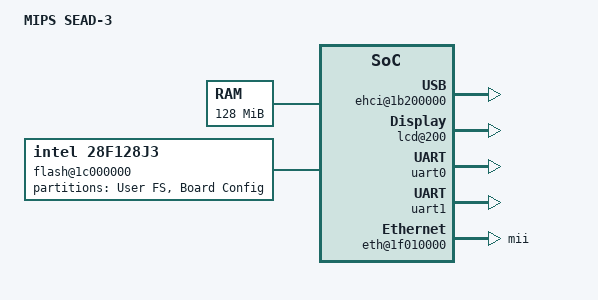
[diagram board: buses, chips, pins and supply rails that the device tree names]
// SPDX-License-Identifier: GPL-2.0
/dts-v1/;

/memreserve/ 0x00000000 0x00001000;	// reserved
/memreserve/ 0x00001000 0x000ef000;	// ROM data
/memreserve/ 0x000f0000 0x004cc000;	// reserved

#include <dt-bindings/interrupt-controller/mips-gic.h>

/ {
	#address-cells = <1>;
	#size-cells = <1>;
	compatible = "mti,sead-3";
	model = "MIPS SEAD-3";

	chosen {
		stdout-path = "serial1:115200";
	};

	aliases {
		serial0 = &uart0;
		serial1 = &uart1;
	};

	cpus {
		cpu@0 {
			compatible = "mti,mips14KEc", "mti,mips14Kc";
		};
	};

	memory {
		device_type = "memory";
		reg = <0x0 0x08000000>;
	};

	cpu_intc: interrupt-controller {
		compatible = "mti,cpu-interrupt-controller";

		interrupt-controller;
		#interrupt-cells = <1>;
	};

	gic: interrupt-controller@1b1c0000 {
		compatible = "mti,gic";
		reg = <0x1b1c0000 0x20000>;

		interrupt-controller;
		#interrupt-cells = <3>;

		/*
		 * Declare the interrupt-parent even though the mti,gic
		 * binding doesn't require it, such that the kernel can
		 * figure out that cpu_intc is the root interrupt
		 * controller & should be probed first.
		 */
		interrupt-parent = <&cpu_intc>;
	};

	ehci@1b200000 {
		compatible = "generic-ehci";
		reg = <0x1b200000 0x1000>;

		interrupt-parent = <&gic>;
		interrupts = <GIC_SHARED 0 IRQ_TYPE_LEVEL_HIGH>; /* GIC 0 or CPU 6 */

		has-transaction-translator;
	};

	flash@1c000000 {
		compatible = "intel,28f128j3", "cfi-flash";
		reg = <0x1c000000 0x2000000>;
		#address-cells = <1>;
		#size-cells = <1>;
		bank-width = <4>;

		partitions {
			compatible = "fixed-partitions";
			#address-cells = <1>;
			#size-cells = <1>;

			user-fs@0 {
				label = "User FS";
				reg = <0x0 0x1fc0000>;
			};

			board-config@3e0000 {
				label = "Board Config";
				reg = <0x1fc0000 0x40000>;
			};
		};
	};

	fpga_regs: system-controller@1f000000 {
		compatible = "mti,sead3-fpga", "syscon", "simple-mfd";
		reg = <0x1f000000 0x200>;

		reboot {
			compatible = "syscon-reboot";
			regmap = <&fpga_regs>;
			offset = <0x50>;
			mask = <0x4d>;
		};

		poweroff {
			compatible = "restart-poweroff";
		};
	};

	system-controller@1f000200 {
		compatible = "mti,sead3-cpld", "syscon", "simple-mfd";
		reg = <0x1f000200 0x300>;

		led@10.0 {
			compatible = "register-bit-led";
			offset = <0x10>;
			mask = <0x1>;
			label = "pled0";
		};
		led@10.1 {
			compatible = "register-bit-led";
			offset = <0x10>;
			mask = <0x2>;
			label = "pled1";
		};
		led@10.2 {
			compatible = "register-bit-led";
			offset = <0x10>;
			mask = <0x4>;
			label = "pled2";
		};
		led@10.3 {
			compatible = "register-bit-led";
			offset = <0x10>;
			mask = <0x8>;
			label = "pled3";
		};
		led@10.4 {
			compatible = "register-bit-led";
			offset = <0x10>;
			mask = <0x10>;
			label = "pled4";
		};
		led@10.5 {
			compatible = "register-bit-led";
			offset = <0x10>;
			mask = <0x20>;
			label = "pled5";
		};
		led@10.6 {
			compatible = "register-bit-led";
			offset = <0x10>;
			mask = <0x40>;
			label = "pled6";
		};
		led@10.7 {
			compatible = "register-bit-led";
			offset = <0x10>;
			mask = <0x80>;
			label = "pled7";
		};

		led@18.0 {
			compatible = "register-bit-led";
			offset = <0x18>;
			mask = <0x1>;
			label = "fled0";
		};
		led@18.1 {
			compatible = "register-bit-led";
			offset = <0x18>;
			mask = <0x2>;
			label = "fled1";
		};
		led@18.2 {
			compatible = "register-bit-led";
			offset = <0x18>;
			mask = <0x4>;
			label = "fled2";
		};
		led@18.3 {
			compatible = "register-bit-led";
			offset = <0x18>;
			mask = <0x8>;
			label = "fled3";
		};
		led@18.4 {
			compatible = "register-bit-led";
			offset = <0x18>;
			mask = <0x10>;
			label = "fled4";
		};
		led@18.5 {
			compatible = "register-bit-led";
			offset = <0x18>;
			mask = <0x20>;
			label = "fled5";
		};
		led@18.6 {
			compatible = "register-bit-led";
			offset = <0x18>;
			mask = <0x40>;
			label = "fled6";
		};
		led@18.7 {
			compatible = "register-bit-led";
			offset = <0x18>;
			mask = <0x80>;
			label = "fled7";
		};

		lcd@200 {
			compatible = "mti,sead3-lcd";
			offset = <0x200>;
		};
	};

	/* UART connected to FTDI & miniUSB socket */
	uart0: uart@1f000900 {
		compatible = "ns16550a";
		reg = <0x1f000900 0x20>;
		reg-io-width = <4>;
		reg-shift = <2>;

		clock-frequency = <14745600>;

		interrupt-parent = <&gic>;
		interrupts = <GIC_SHARED 3 IRQ_TYPE_LEVEL_HIGH>; /* GIC 3 or CPU 4 */

		no-loopback-test;
	};

	/* UART connected to RS232 socket */
	uart1: uart@1f000800 {
		compatible = "ns16550a";
		reg = <0x1f000800 0x20>;
		reg-io-width = <4>;
		reg-shift = <2>;

		clock-frequency = <14745600>;

		interrupt-parent = <&gic>;
		interrupts = <GIC_SHARED 2 IRQ_TYPE_LEVEL_HIGH>; /* GIC 2 or CPU 4 */

		no-loopback-test;
	};

	eth@1f010000 {
		compatible = "smsc,lan9115";
		reg = <0x1f010000 0x10000>;
		reg-io-width = <4>;

		interrupt-parent = <&gic>;
		interrupts = <GIC_SHARED 0 IRQ_TYPE_LEVEL_HIGH>; /* GIC 0 or CPU 6 */

		phy-mode = "mii";
		smsc,irq-push-pull;
		smsc,save-mac-address;
	};
};
